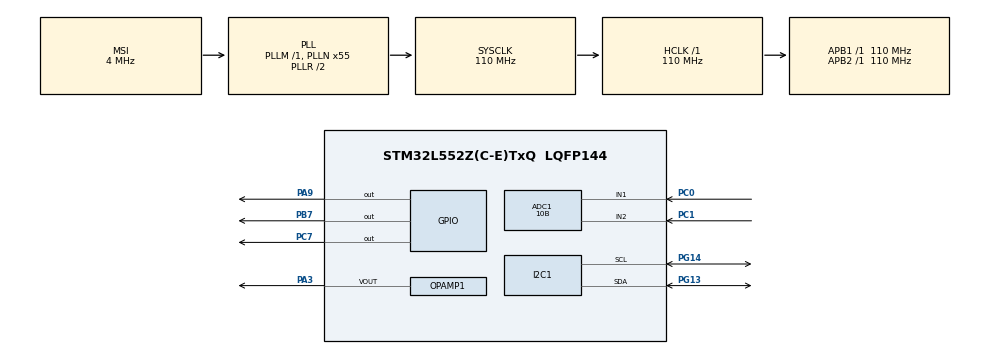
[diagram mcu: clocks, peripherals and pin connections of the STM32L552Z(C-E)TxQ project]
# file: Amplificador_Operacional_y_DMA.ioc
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ADC1.Channel-0\#ChannelRegularConversion=ADC_CHANNEL_1
ADC1.Channel-1\#ChannelRegularConversion=ADC_CHANNEL_1
ADC1.ContinuousConvMode=DISABLE
ADC1.EOCSelection=ADC_EOC_SINGLE_CONV
ADC1.EnableAnalogWatchDog1=false
ADC1.ExternalTrigConv=ADC_SOFTWARE_START
ADC1.NbrOfConversion=2
ADC1.NbrOfConversionFlag=1
ADC1.OffsetNumber-0\#ChannelRegularConversion=ADC_OFFSET_NONE
ADC1.OffsetNumber-1\#ChannelRegularConversion=ADC_OFFSET_NONE
ADC1.Rank-0\#ChannelRegularConversion=1
ADC1.Rank-1\#ChannelRegularConversion=2
ADC1.Resolution=ADC_RESOLUTION_10B
ADC1.SamplingTime-0\#ChannelRegularConversion=ADC_SAMPLETIME_2CYCLES_5
ADC1.SamplingTime-1\#ChannelRegularConversion=ADC_SAMPLETIME_2CYCLES_5
ADC1.master=1
DAC1.DAC_Trigger-DAC_OUT1_Int=DAC_TRIGGER_T2_TRGO
DAC1.WaveGeneration-DAC_OUT1_Int=DISABLE
Dma.DAC1_CH1.0.Channel_PRIV_NPRIV=DMA_CHANNEL_NPRIV_DISABLE
Dma.DAC1_CH1.0.Direction=DMA_MEMORY_TO_PERIPH
Dma.DAC1_CH1.0.EventEnable=DISABLE
Dma.DAC1_CH1.0.Instance=DMA1_Channel1
Dma.DAC1_CH1.0.MemDataAlignment=DMA_MDATAALIGN_HALFWORD
Dma.DAC1_CH1.0.MemInc=DMA_MINC_ENABLE
Dma.DAC1_CH1.0.Mode=DMA_CIRCULAR
Dma.DAC1_CH1.0.PeriphDataAlignment=DMA_PDATAALIGN_HALFWORD
Dma.DAC1_CH1.0.PeriphInc=DMA_PINC_DISABLE
Dma.DAC1_CH1.0.Polarity=HAL_DMAMUX_REQ_GEN_RISING
Dma.DAC1_CH1.0.Priority=DMA_PRIORITY_LOW
Dma.DAC1_CH1.0.RequestNumber=1
Dma.DAC1_CH1.0.SignalID=NONE
Dma.DAC1_CH1.0.SyncEnable=DISABLE
Dma.DAC1_CH1.0.SyncPolarity=HAL_DMAMUX_SYNC_NO_EVENT
Dma.DAC1_CH1.0.SyncRequestNumber=1
Dma.DAC1_CH1.0.SyncSignalID=NONE
Dma.Request0=DAC1_CH1
I2C1.Timing=0x60514452
Mcu.Family=STM32L5
Mcu.Name=STM32L552Z(C-E)TxQ
Mcu.Package=LQFP144
Mcu.TrustZone=disable
NUCLEO-L552ZE-Q.BUTTON=1
NUCLEO-L552ZE-Q.LD1=true
NUCLEO-L552ZE-Q.LD2=true
NUCLEO-L552ZE-Q.LD3=true
NUCLEO-L552ZE-Q.VCP=true
NVIC.ADC1_2_IRQn=true\:0\:0\:false\:false\:true\:true\:true\:true
NVIC.DMA1_Channel1_IRQn=true\:0\:0\:false\:false\:true\:false\:true\:true
NVIC.EXTI13_IRQn=true\:0\:0\:false\:false\:true\:false\:true\:true
NVIC.PriorityGroup=NVIC_PRIORITYGROUP_3
NVIC.TIM1_UP_IRQn=true\:0\:0\:false\:false\:true\:true\:true\:true
PA13\ (JTMS/SWDIO).Signal=DEBUG_JTMS-SWDIO
PA14\ (JTCK/SWCLK).Signal=DEBUG_JTCK-SWCLK
PA3.Mode=Follower-DAC_OUT1-INP
PA3.Signal=OPAMP1_VOUT
PA9.Signal=GPIO_Output
PB3\ (JTDO/TRACESWO).Signal=DEBUG_JTDO-SWO
PB7.Signal=GPIO_Output
PC0.Signal=ADCx_IN1
PC1.Signal=ADCx_IN2
PC13.Signal=PWR_WKUP2
PC14-OSC32_IN\ (PC14).Signal=RCC_OSC32_IN
PC15-OSC32_OUT\ (PC15).Signal=RCC_OSC32_OUT
PC7.Signal=GPIO_Output
PG13.Mode=I2C
PG13.Signal=I2C1_SDA
PG14.Mode=I2C
PG14.Signal=I2C1_SCL
PG7.Signal=LPUART1_TX
PG8.Signal=LPUART1_RX
ProjectManager.HeapSize=0x200
ProjectManager.StackSize=0x400
ProjectManager.TargetToolchain=STM32CubeIDE
RCC.ADCCLockSelection=RCC_ADCCLKSOURCE_SYSCLK
RCC.ADCFreq_Value=110000000
RCC.AHBFreq_Value=110000000
RCC.APB1Freq_Value=110000000
RCC.APB1TimFreq_Value=110000000
RCC.APB2Freq_Value=110000000
RCC.APB2TimFreq_Value=110000000
RCC.CK48CLockSelection=RCC_USBCLKSOURCE_HSI48
RCC.CortexFreq_Value=110000000
RCC.HCLKFreq_Value=110000000
RCC.HSE_VALUE=8000000
RCC.HSI48_VALUE=48000000
RCC.HSI_VALUE=16000000
RCC.LSE_VALUE=32768
RCC.MSI_VALUE=4000000
RCC.PLLN=55
RCC.PLLSAI1N=24
RCC.RTCClockSelection=RCC_RTCCLKSOURCE_LSE
RCC.SYSCLKFreq_VALUE=110000000
RCC.SYSCLKSource=RCC_SYSCLKSOURCE_PLLCLK
RCC.USBFreq_Value=48000000
RCC.VCOOutputFreq_Value=220000000
SH.ADCx_IN1.0=ADC1_IN1,IN1-Single-Ended
SH.ADCx_IN2.0=ADC1_IN2,IN2-Single-Ended
TIM1.ClockDivision=TIM_CLOCKDIVISION_DIV4
TIM1.Period=333
TIM1.Prescaler=2749
TIM2.TIM_MasterOutputTrigger=TIM_TRGO_UPDATE
VP_DAC1_VS_DACI1.Mode=DAC_OUT1_Int
VP_ICACHE_VS_ICACHE.Mode=DirectMappedCache
VP_NUCLEO-L552ZE-Q_VS_BSP_COMMON.Mode=COMMON
VP_PWR_VS_DBSignals.Mode=DisableDeadBatterySignals
VP_PWR_VS_SECSignals.Mode=Security/Privilege
VP_TIM1_VS_ClockSourceINT.Mode=Internal
VP_TIM2_VS_ClockSourceINT.Mode=Internal
board=NUCLEO-L552ZE-Q

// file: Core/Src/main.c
/* USER CODE BEGIN Header */
/**
  ******************************************************************************
  * @file           : main.c
  * @brief          : Main program body
  ******************************************************************************
  * @attention
  *
  * Copyright (c) 2025 STMicroelectronics.
  * All rights reserved.
  *
  * This software is licensed under terms that can be found in the LICENSE file
  * in the root directory of this software component.
  * If no LICENSE file comes with this software, it is provided AS-IS.
  *
  ******************************************************************************
  */
/* USER CODE END Header */
#include "main.h"

/* USER CODE BEGIN Includes */
#include <math.h>
/* USER CODE END Includes */

COM_InitTypeDef BspCOMInit;
ADC_HandleTypeDef hadc1;

DAC_HandleTypeDef hdac1;
DMA_HandleTypeDef hdma_dac1_ch1;

I2C_HandleTypeDef hi2c1;

OPAMP_HandleTypeDef hopamp1;

TIM_HandleTypeDef htim1;
TIM_HandleTypeDef htim2;

/* USER CODE BEGIN PV */
double lut_sin[360]; // USAREMOS %360 PARA LLAMAR A ESTA FUNCION POR SI QUIERES MANDAR UNA BURRADA DE GRANDE
uint32_t lectura;
uint32_t lecturaAnterior=1;
uint32_t lectura2;
uint32_t lecturaAnterior2=1;
uint32_t Amplitud=5;
uint32_t FrecuenciaTimer=1000; //1kz
uint32_t funcion[360];
int escaneo;
/* USER CODE END PV */

void SystemClock_Config(void);
static void MX_GPIO_Init(void);
static void MX_DMA_Init(void);
static void MX_ICACHE_Init(void);
static void MX_DAC1_Init(void);
static void MX_I2C1_Init(void);
static void MX_OPAMP1_Init(void);
static void MX_TIM2_Init(void);
static void MX_ADC1_Init(void);
static void MX_TIM1_Init(void);

int main(void)
{

  /* MCU Configuration--------------------------------------------------------*/

  /* Reset of all peripherals, Initializes the Flash interface and the Systick. */
  HAL_Init();

  /* Configure the system clock */
  SystemClock_Config();

  /* Initialize all configured peripherals */
  MX_GPIO_Init();
  MX_DMA_Init();
  MX_ICACHE_Init();
  MX_DAC1_Init();
  MX_I2C1_Init();
  MX_OPAMP1_Init();
  MX_TIM2_Init();
  MX_ADC1_Init();
  MX_TIM1_Init();
  /* USER CODE BEGIN 2 */

/*
  HAL_OPAMP_Init(&hopamp1);
  HAL_DMA_Init(&hdma_dac1_ch1);
  HAL_DAC_Init(&hdac1);
  HAL_I2C_Init(&hi2c1);
  HAL_TIM_Base_Init(&htim2);
  HAL_TIM_Base_Init(&htim1);
*/

  HAL_OPAMP_Start(&hopamp1);
  HAL_ADC_Start_IT(&hadc1);
  HAL_TIM_Base_Start(&htim2);
  HAL_TIM_Base_Start_IT(&htim1);

  /* USER CODE END 2 */

  /* Initialize leds */
  BSP_LED_Init(LED_GREEN);
  BSP_LED_Init(LED_BLUE);
  BSP_LED_Init(LED_RED);

  /* Initialize USER push-button, will be used to trigger an interrupt each time it's pressed.*/
  BSP_PB_Init(BUTTON_USER, BUTTON_MODE_EXTI);

  /* Initialize COM1 port (115200, 8 bits (7-bit data + 1 stop bit), no parity */
  BspCOMInit.BaudRate   = 115200;
  BspCOMInit.WordLength = COM_WORDLENGTH_8B;
  BspCOMInit.StopBits   = COM_STOPBITS_1;
  BspCOMInit.Parity     = COM_PARITY_NONE;
  BspCOMInit.HwFlowCtl  = COM_HWCONTROL_NONE;
  if (BSP_COM_Init(COM1, &BspCOMInit) != BSP_ERROR_NONE)
  {
    Error_Handler();
  }

  /* Infinite loop */
  /* USER CODE BEGIN WHILE */

  for(int i=0; i<360;i++){
	  lut_sin[i]=sin(i*3.14159265/180);
	  //printf("Grado %d: %f\r\n", i, (double)lut_sin[i]);
  }

  //vamos a crear una señal inicial
  FrecuenciaTimer = (110000000/FrecuenciaTimer)-1;//110MHz
  __HAL_TIM_SET_AUTORELOAD(&htim2, FrecuenciaTimer);
  for(int i=0;i<360;i++){
  	funcion[i] = 4095*(Amplitud*lut_sin[i] + Amplitud)/(Amplitud*2); //antes i*frecuencia #creo que estaba mal
  }
  HAL_DAC_Start_DMA(&hdac1, DAC_CHANNEL_1, funcion, 360, DAC_ALIGN_12B_R);
  BSP_LED_On(LED_BLUE);

  while (1)
  {

    /* USER CODE END WHILE */

  }
}

void SystemClock_Config(void)
{
  RCC_OscInitTypeDef RCC_OscInitStruct = {0};
  RCC_ClkInitTypeDef RCC_ClkInitStruct = {0};

  /** Configure the main internal regulator output voltage
  */
  if (HAL_PWREx_ControlVoltageScaling(PWR_REGULATOR_VOLTAGE_SCALE0) != HAL_OK)
  {
    Error_Handler();
  }

  /** Initializes the RCC Oscillators according to the specified parameters
  * in the RCC_OscInitTypeDef structure.
  */
  RCC_OscInitStruct.OscillatorType = RCC_OSCILLATORTYPE_MSI;
  RCC_OscInitStruct.MSIState = RCC_MSI_ON;
  RCC_OscInitStruct.MSICalibrationValue = RCC_MSICALIBRATION_DEFAULT;
  RCC_OscInitStruct.MSIClockRange = RCC_MSIRANGE_6;
  RCC_OscInitStruct.PLL.PLLState = RCC_PLL_ON;
  RCC_OscInitStruct.PLL.PLLSource = RCC_PLLSOURCE_MSI;
  RCC_OscInitStruct.PLL.PLLM = 1;
  RCC_OscInitStruct.PLL.PLLN = 55;
  RCC_OscInitStruct.PLL.PLLP = RCC_PLLP_DIV7;
  RCC_OscInitStruct.PLL.PLLQ = RCC_PLLQ_DIV2;
  RCC_OscInitStruct.PLL.PLLR = RCC_PLLR_DIV2;
  if (HAL_RCC_OscConfig(&RCC_OscInitStruct) != HAL_OK)
  {
    Error_Handler();
  }

  /** Initializes the CPU, AHB and APB buses clocks
  */
  RCC_ClkInitStruct.ClockType = RCC_CLOCKTYPE_HCLK|RCC_CLOCKTYPE_SYSCLK
                              |RCC_CLOCKTYPE_PCLK1|RCC_CLOCKTYPE_PCLK2;
  RCC_ClkInitStruct.SYSCLKSource = RCC_SYSCLKSOURCE_PLLCLK;
  RCC_ClkInitStruct.AHBCLKDivider = RCC_SYSCLK_DIV1;
  RCC_ClkInitStruct.APB1CLKDivider = RCC_HCLK_DIV1;
  RCC_ClkInitStruct.APB2CLKDivider = RCC_HCLK_DIV1;

  if (HAL_RCC_ClockConfig(&RCC_ClkInitStruct, FLASH_LATENCY_5) != HAL_OK)
  {
    Error_Handler();
  }
}

static void MX_ADC1_Init(void)
{

  ADC_MultiModeTypeDef multimode = {0};
  ADC_ChannelConfTypeDef sConfig = {0};

  /** Common config
  */
  hadc1.Instance = ADC1;
  hadc1.Init.ClockPrescaler = ADC_CLOCK_ASYNC_DIV1;
  hadc1.Init.Resolution = ADC_RESOLUTION_10B;
  hadc1.Init.DataAlign = ADC_DATAALIGN_RIGHT;
  hadc1.Init.ScanConvMode = ADC_SCAN_ENABLE;
  hadc1.Init.EOCSelection = ADC_EOC_SINGLE_CONV;
  hadc1.Init.LowPowerAutoWait = DISABLE;
  hadc1.Init.ContinuousConvMode = DISABLE;
  hadc1.Init.NbrOfConversion = 2;
  hadc1.Init.DiscontinuousConvMode = DISABLE;
  hadc1.Init.ExternalTrigConv = ADC_SOFTWARE_START;
  hadc1.Init.ExternalTrigConvEdge = ADC_EXTERNALTRIGCONVEDGE_NONE;
  hadc1.Init.DMAContinuousRequests = DISABLE;
  hadc1.Init.Overrun = ADC_OVR_DATA_PRESERVED;
  hadc1.Init.OversamplingMode = DISABLE;
  if (HAL_ADC_Init(&hadc1) != HAL_OK)
  {
    Error_Handler();
  }

  /** Configure the ADC multi-mode
  */
  multimode.Mode = ADC_MODE_INDEPENDENT;
  if (HAL_ADCEx_MultiModeConfigChannel(&hadc1, &multimode) != HAL_OK)
  {
    Error_Handler();
  }

  /** Configure Regular Channel
  */
  sConfig.Channel = ADC_CHANNEL_1;
  sConfig.Rank = ADC_REGULAR_RANK_1;
  sConfig.SamplingTime = ADC_SAMPLETIME_2CYCLES_5;
  sConfig.SingleDiff = ADC_SINGLE_ENDED;
  sConfig.OffsetNumber = ADC_OFFSET_NONE;
  sConfig.Offset = 0;
  if (HAL_ADC_ConfigChannel(&hadc1, &sConfig) != HAL_OK)
  {
    Error_Handler();
  }

  /** Configure Regular Channel
  */
  sConfig.Rank = ADC_REGULAR_RANK_2;
  if (HAL_ADC_ConfigChannel(&hadc1, &sConfig) != HAL_OK)
  {
    Error_Handler();
  }

}

static void MX_DAC1_Init(void)
{

  DAC_ChannelConfTypeDef sConfig = {0};

  /** DAC Initialization
  */
  hdac1.Instance = DAC1;
  if (HAL_DAC_Init(&hdac1) != HAL_OK)
  {
    Error_Handler();
  }

  /** DAC channel OUT1 config
  */
  sConfig.DAC_SampleAndHold = DAC_SAMPLEANDHOLD_DISABLE;
  sConfig.DAC_Trigger = DAC_TRIGGER_T2_TRGO;
  sConfig.DAC_HighFrequency = DAC_HIGH_FREQUENCY_INTERFACE_MODE_ABOVE_80MHZ;
  sConfig.DAC_OutputBuffer = DAC_OUTPUTBUFFER_DISABLE;
  sConfig.DAC_ConnectOnChipPeripheral = DAC_CHIPCONNECT_ENABLE;
  sConfig.DAC_UserTrimming = DAC_TRIMMING_FACTORY;
  if (HAL_DAC_ConfigChannel(&hdac1, &sConfig, DAC_CHANNEL_1) != HAL_OK)
  {
    Error_Handler();
  }

}

static void MX_I2C1_Init(void)
{

  hi2c1.Instance = I2C1;
  hi2c1.Init.Timing = 0x60514452;
  hi2c1.Init.OwnAddress1 = 0;
  hi2c1.Init.AddressingMode = I2C_ADDRESSINGMODE_7BIT;
  hi2c1.Init.DualAddressMode = I2C_DUALADDRESS_DISABLE;
  hi2c1.Init.OwnAddress2 = 0;
  hi2c1.Init.OwnAddress2Masks = I2C_OA2_NOMASK;
  hi2c1.Init.GeneralCallMode = I2C_GENERALCALL_DISABLE;
  hi2c1.Init.NoStretchMode = I2C_NOSTRETCH_DISABLE;
  if (HAL_I2C_Init(&hi2c1) != HAL_OK)
  {
    Error_Handler();
  }

  /** Configure Analogue filter
  */
  if (HAL_I2CEx_ConfigAnalogFilter(&hi2c1, I2C_ANALOGFILTER_ENABLE) != HAL_OK)
  {
    Error_Handler();
  }

  /** Configure Digital filter
  */
  if (HAL_I2CEx_ConfigDigitalFilter(&hi2c1, 0) != HAL_OK)
  {
    Error_Handler();
  }

}

static void MX_ICACHE_Init(void)
{

  /** Enable instruction cache in 1-way (direct mapped cache)
  */
  if (HAL_ICACHE_ConfigAssociativityMode(ICACHE_1WAY) != HAL_OK)
  {
    Error_Handler();
  }
  if (HAL_ICACHE_Enable() != HAL_OK)
  {
    Error_Handler();
  }

}

static void MX_OPAMP1_Init(void)
{

  hopamp1.Instance = OPAMP1;
  hopamp1.Init.PowerSupplyRange = OPAMP_POWERSUPPLY_LOW;
  hopamp1.Init.Mode = OPAMP_FOLLOWER_MODE;
  hopamp1.Init.NonInvertingInput = OPAMP_NONINVERTINGINPUT_DAC_CH;
  hopamp1.Init.PowerMode = OPAMP_POWERMODE_NORMALPOWER;
  hopamp1.Init.UserTrimming = OPAMP_TRIMMING_FACTORY;
  if (HAL_OPAMP_Init(&hopamp1) != HAL_OK)
  {
    Error_Handler();
  }

}

static void MX_TIM1_Init(void)
{

  TIM_ClockConfigTypeDef sClockSourceConfig = {0};
  TIM_MasterConfigTypeDef sMasterConfig = {0};

  htim1.Instance = TIM1;
  htim1.Init.Prescaler = 2749;
  htim1.Init.CounterMode = TIM_COUNTERMODE_UP;
  htim1.Init.Period = 333;
  htim1.Init.ClockDivision = TIM_CLOCKDIVISION_DIV4;
  htim1.Init.RepetitionCounter = 0;
  htim1.Init.AutoReloadPreload = TIM_AUTORELOAD_PRELOAD_DISABLE;
  if (HAL_TIM_Base_Init(&htim1) != HAL_OK)
  {
    Error_Handler();
  }
  sClockSourceConfig.ClockSource = TIM_CLOCKSOURCE_INTERNAL;
  if (HAL_TIM_ConfigClockSource(&htim1, &sClockSourceConfig) != HAL_OK)
  {
    Error_Handler();
  }
  sMasterConfig.MasterOutputTrigger = TIM_TRGO_RESET;
  sMasterConfig.MasterOutputTrigger2 = TIM_TRGO2_RESET;
  sMasterConfig.MasterSlaveMode = TIM_MASTERSLAVEMODE_DISABLE;
  if (HAL_TIMEx_MasterConfigSynchronization(&htim1, &sMasterConfig) != HAL_OK)
  {
    Error_Handler();
  }

}

static void MX_TIM2_Init(void)
{

  TIM_ClockConfigTypeDef sClockSourceConfig = {0};
  TIM_MasterConfigTypeDef sMasterConfig = {0};

  htim2.Instance = TIM2;
  htim2.Init.Prescaler = 0;
  htim2.Init.CounterMode = TIM_COUNTERMODE_UP;
  htim2.Init.Period = 4294967295;
  htim2.Init.ClockDivision = TIM_CLOCKDIVISION_DIV1;
  htim2.Init.AutoReloadPreload = TIM_AUTORELOAD_PRELOAD_DISABLE;
  if (HAL_TIM_Base_Init(&htim2) != HAL_OK)
  {
    Error_Handler();
  }
  sClockSourceConfig.ClockSource = TIM_CLOCKSOURCE_INTERNAL;
  if (HAL_TIM_ConfigClockSource(&htim2, &sClockSourceConfig) != HAL_OK)
  {
    Error_Handler();
  }
  sMasterConfig.MasterOutputTrigger = TIM_TRGO_UPDATE;
  sMasterConfig.MasterSlaveMode = TIM_MASTERSLAVEMODE_DISABLE;
  if (HAL_TIMEx_MasterConfigSynchronization(&htim2, &sMasterConfig) != HAL_OK)
  {
    Error_Handler();
  }

}

static void MX_DMA_Init(void)
{

  /* DMA controller clock enable */
  __HAL_RCC_DMAMUX1_CLK_ENABLE();
  __HAL_RCC_DMA1_CLK_ENABLE();

  /* DMA interrupt init */
  /* DMA1_Channel1_IRQn interrupt configuration */
  HAL_NVIC_SetPriority(DMA1_Channel1_IRQn, 0, 0);
  HAL_NVIC_EnableIRQ(DMA1_Channel1_IRQn);

}

static void MX_GPIO_Init(void)
{

  /* GPIO Ports Clock Enable */
  __HAL_RCC_GPIOC_CLK_ENABLE();
  __HAL_RCC_GPIOA_CLK_ENABLE();
  __HAL_RCC_GPIOG_CLK_ENABLE();
  HAL_PWREx_EnableVddIO2();
  __HAL_RCC_GPIOB_CLK_ENABLE();

}

/* USER CODE BEGIN 4 */

/**
  * @brief Interrupción de los TIMERS
  * @param None
  * @retval None
  */
void HAL_TIM_PeriodElapsedCallback(TIM_HandleTypeDef *htim){
	if(htim->Instance==TIM1){ //quizas es htim1
		if(HAL_ADC_GetState(&hadc1)==HAL_ADC_STATE_READY){
			BSP_LED_On(LED_RED);
			HAL_ADC_Start_IT(&hadc1);
			BSP_LED_Off(LED_BLUE);
		//Aqui haremos el ADC de la frecuencia una vez funcione el de la Amplitud
		}
	}
}
void HAL_ADC_ConvCpltCallback(ADC_HandleTypeDef *hadc){
	if(hadc->Instance==ADC1){
		BSP_LED_Off(LED_BLUE);
		switch(escaneo){
		case(1):
				BSP_LED_On(LED_RED);
				lectura2 = HAL_ADC_GetValue(hadc);
				if(lectura2!=lecturaAnterior2){
					lecturaAnterior=lectura;
					FrecuenciaTimer = 57000*(lectura/1023); //hasta 57kHz con mucho voltaje
					FrecuenciaTimer = (110000000/FrecuenciaTimer)-1;//110MHz
					__HAL_TIM_SET_AUTORELOAD(&htim2, FrecuenciaTimer);
					for(int i=0;i<360;i++){
						funcion[i] = 4095*(Amplitud*lut_sin[(i)] + Amplitud)/(Amplitud*2);
					}
					HAL_DAC_Start_DMA(&hdac1, DAC_CHANNEL_1, funcion, 360, DAC_ALIGN_12B_R);
					actualizaPantalla();
				}
				escaneo=1;
				break;

		default:
			BSP_LED_On(LED_RED);
				lectura = HAL_ADC_GetValue(hadc);
				if(lectura!=lecturaAnterior){
					lecturaAnterior=lectura;
					Amplitud = 5*(lectura/1024);
					for(int i=0;i<360;i++){
						funcion[i] = 4095*(Amplitud*lut_sin[(i)] + Amplitud)/(Amplitud*2);
					}
					HAL_DAC_Start_DMA(&hdac1, DAC_CHANNEL_1, funcion, 360, DAC_ALIGN_12B_R);
					actualizaPantalla();
				}
				escaneo=1;

		}
	}
}
void actualizaPantalla(){
	printf("Amp %f\r\n", (double)Amplitud);
	printf("Frec %f\r\n", (double)FrecuenciaTimer);
}
/* USER CODE END 4 */

void Error_Handler(void)
{
  __disable_irq();
  while (1)
  {
  }
}
